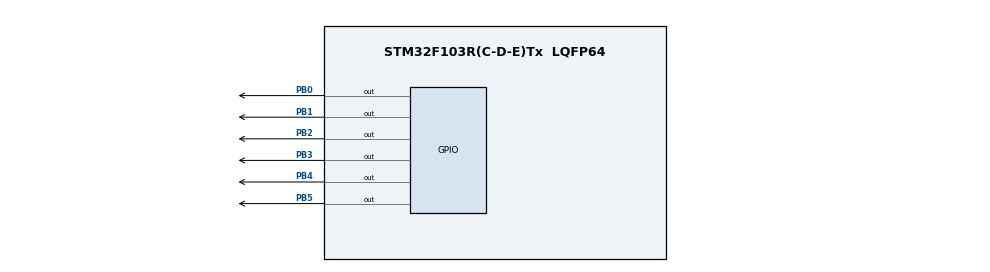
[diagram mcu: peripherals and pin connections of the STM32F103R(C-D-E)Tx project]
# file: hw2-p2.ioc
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Mcu.Family=STM32F1
Mcu.Name=STM32F103R(C-D-E)Tx
Mcu.Package=LQFP64
NVIC.PriorityGroup=NVIC_PRIORITYGROUP_4
PA13.Mode=Serial_Wire
PA13.Signal=SYS_JTMS-SWDIO
PA14.Mode=Serial_Wire
PA14.Signal=SYS_JTCK-SWCLK
PB0.Signal=GPIO_Output
PB1.Signal=GPIO_Output
PB2.Signal=GPIO_Output
PB3.Signal=GPIO_Output
PB4.Signal=GPIO_Output
PB5.Signal=GPIO_Output
PD0-OSC_IN.Mode=HSE-External-Oscillator
PD0-OSC_IN.Signal=RCC_OSC_IN
PD1-OSC_OUT.Mode=HSE-External-Oscillator
PD1-OSC_OUT.Signal=RCC_OSC_OUT
ProjectManager.HeapSize=0x200
ProjectManager.StackSize=0x400
ProjectManager.TargetToolchain=MDK-ARM V5.32
RCC.APB1Freq_Value=8000000
RCC.APB2Freq_Value=8000000
board=custom

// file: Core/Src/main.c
/* USER CODE BEGIN Header */
/**
  ******************************************************************************
  * @file           : main.c
  * @brief          : Main program body
  ******************************************************************************
  * @attention
  *
  * Copyright (c) 2026 STMicroelectronics.
  * All rights reserved.
  *
  * This software is licensed under terms that can be found in the LICENSE file
  * in the root directory of this software component.
  * If no LICENSE file comes with this software, it is provided AS-IS.
  *
  ******************************************************************************
  */
/* USER CODE END Header */
#include "main.h"

/* USER CODE BEGIN Includes */
#include "lcd.h"
#include <string.h>
/* USER CODE END Includes */

/* USER CODE BEGIN PD */
#define RS_PIN GPIO_PIN_0
#define RS_PORT GPIOB

#define ENB_PIN GPIO_PIN_1
#define ENB_PORT GPIOB

#define LCD_PORTS {GPIOB,GPIOB,GPIOB,GPIOB}
#define LCD_PINS {GPIO_PIN_2,GPIO_PIN_3,GPIO_PIN_4,GPIO_PIN_5}
/* USER CODE END PD */

void SystemClock_Config(void);
static void MX_GPIO_Init(void);

int main(void)
{

  /* MCU Configuration--------------------------------------------------------*/

  /* Reset of all peripherals, Initializes the Flash interface and the Systick. */
  HAL_Init();

  /* Configure the system clock */
  SystemClock_Config();

  /* Initialize all configured peripherals */
  MX_GPIO_Init();
  /* USER CODE BEGIN 2 */
	Lcd_PortType Ports[] = LCD_PORTS;
	Lcd_PinType Pins[]= LCD_PINS;

	Lcd_HandleTypeDef lcd;
	lcd = Lcd_create(Ports, Pins, RS_PORT, RS_PIN, ENB_PORT, ENB_PIN, LCD_4_BIT_MODE);
  uint8_t count = 0;
	uint8_t col=0;
	char str[4]; // "255" + '\0'
	/* USER CODE END 2 */

  /* Infinite loop */
  while (1)
  {

    /* USER CODE BEGIN 3 */
	  snprintf(str, sizeof(str), "%3d", count);   // "  0", "  1", ..., "255"
	  int col = (16 - 3) / 2;                     // always same column

		Lcd_cursor(&lcd,0,col);
	  Lcd_string(&lcd, str);
		count = (count +1) & 0xFF; // wrap-around to 0, 0xff =>255
		HAL_Delay(50);
	}
  /* USER CODE END 3 */
}

void SystemClock_Config(void)
{
  RCC_OscInitTypeDef RCC_OscInitStruct = {0};
  RCC_ClkInitTypeDef RCC_ClkInitStruct = {0};

  /** Initializes the RCC Oscillators according to the specified parameters
  * in the RCC_OscInitTypeDef structure.
  */
  RCC_OscInitStruct.OscillatorType = RCC_OSCILLATORTYPE_HSI;
  RCC_OscInitStruct.HSIState = RCC_HSI_ON;
  RCC_OscInitStruct.HSICalibrationValue = RCC_HSICALIBRATION_DEFAULT;
  RCC_OscInitStruct.PLL.PLLState = RCC_PLL_NONE;
  if (HAL_RCC_OscConfig(&RCC_OscInitStruct) != HAL_OK)
  {
    Error_Handler();
  }

  /** Initializes the CPU, AHB and APB buses clocks
  */
  RCC_ClkInitStruct.ClockType = RCC_CLOCKTYPE_HCLK|RCC_CLOCKTYPE_SYSCLK
                              |RCC_CLOCKTYPE_PCLK1|RCC_CLOCKTYPE_PCLK2;
  RCC_ClkInitStruct.SYSCLKSource = RCC_SYSCLKSOURCE_HSI;
  RCC_ClkInitStruct.AHBCLKDivider = RCC_SYSCLK_DIV1;
  RCC_ClkInitStruct.APB1CLKDivider = RCC_HCLK_DIV1;
  RCC_ClkInitStruct.APB2CLKDivider = RCC_HCLK_DIV1;

  if (HAL_RCC_ClockConfig(&RCC_ClkInitStruct, FLASH_LATENCY_0) != HAL_OK)
  {
    Error_Handler();
  }
}

static void MX_GPIO_Init(void)
{
  GPIO_InitTypeDef GPIO_InitStruct = {0};

  /* GPIO Ports Clock Enable */
  __HAL_RCC_GPIOD_CLK_ENABLE();
  __HAL_RCC_GPIOB_CLK_ENABLE();
  __HAL_RCC_GPIOA_CLK_ENABLE();

  /*Configure GPIO pin Output Level */
  HAL_GPIO_WritePin(GPIOB, GPIO_PIN_0|GPIO_PIN_1|GPIO_PIN_2|GPIO_PIN_3
                          |GPIO_PIN_4|GPIO_PIN_5, GPIO_PIN_RESET);

  /*Configure GPIO pins : PB0 PB1 PB2 PB3
                           PB4 PB5 */
  GPIO_InitStruct.Pin = GPIO_PIN_0|GPIO_PIN_1|GPIO_PIN_2|GPIO_PIN_3
                          |GPIO_PIN_4|GPIO_PIN_5;
  GPIO_InitStruct.Mode = GPIO_MODE_OUTPUT_PP;
  GPIO_InitStruct.Pull = GPIO_NOPULL;
  GPIO_InitStruct.Speed = GPIO_SPEED_FREQ_LOW;
  HAL_GPIO_Init(GPIOB, &GPIO_InitStruct);

}

void Error_Handler(void)
{
  __disable_irq();
  while (1)
  {
  }
}
